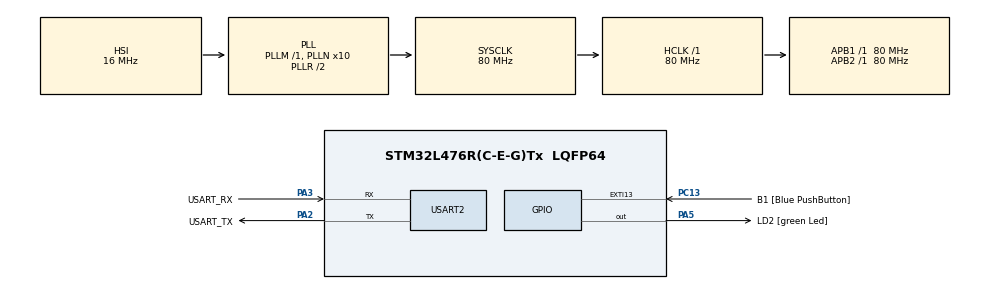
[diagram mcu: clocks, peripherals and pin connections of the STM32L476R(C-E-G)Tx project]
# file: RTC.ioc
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Mcu.Family=STM32L4
Mcu.Name=STM32L476R(C-E-G)Tx
Mcu.Package=LQFP64
NVIC.PriorityGroup=NVIC_PRIORITYGROUP_4
PA13\ (JTMS-SWDIO).GPIO_Label=TMS
PA13\ (JTMS-SWDIO).Mode=Serial_Wire
PA13\ (JTMS-SWDIO).Signal=SYS_JTMS-SWDIO
PA14\ (JTCK-SWCLK).GPIO_Label=TCK
PA14\ (JTCK-SWCLK).Mode=Serial_Wire
PA14\ (JTCK-SWCLK).Signal=SYS_JTCK-SWCLK
PA2.GPIO_Label=USART_TX
PA2.GPIO_Mode=GPIO_MODE_AF_PP
PA2.GPIO_PuPd=GPIO_NOPULL
PA2.GPIO_Speed=GPIO_SPEED_FREQ_VERY_HIGH
PA2.Mode=Asynchronous
PA2.Signal=USART2_TX
PA3.GPIO_Label=USART_RX
PA3.GPIO_Mode=GPIO_MODE_AF_PP
PA3.GPIO_PuPd=GPIO_NOPULL
PA3.GPIO_Speed=GPIO_SPEED_FREQ_VERY_HIGH
PA3.Mode=Asynchronous
PA3.Signal=USART2_RX
PA5.GPIO_Label=LD2 [green Led]
PA5.GPIO_ModeDefaultOutputPP=GPIO_MODE_OUTPUT_PP
PA5.GPIO_PuPd=GPIO_NOPULL
PA5.GPIO_Speed=GPIO_SPEED_FREQ_LOW
PA5.Signal=GPIO_Output
PB3\ (JTDO-TRACESWO).GPIO_Label=SWO
PB3\ (JTDO-TRACESWO).Signal=SYS_JTDO-SWO
PC13.GPIO_Label=B1 [Blue PushButton]
PC13.GPIO_ModeDefaultEXTI=GPIO_MODE_IT_FALLING
PC13.GPIO_PuPd=GPIO_NOPULL
PC13.Signal=GPXTI13
PC14-OSC32_IN\ (PC14).Mode=LSE-External-Oscillator
PC14-OSC32_IN\ (PC14).Signal=RCC_OSC32_IN
PC15-OSC32_OUT\ (PC15).Mode=LSE-External-Oscillator
PC15-OSC32_OUT\ (PC15).Signal=RCC_OSC32_OUT
PH0-OSC_IN\ (PH0).Mode=HSE-External-Oscillator
PH0-OSC_IN\ (PH0).Signal=RCC_OSC_IN
PH1-OSC_OUT\ (PH1).Mode=HSE-External-Oscillator
PH1-OSC_OUT\ (PH1).Signal=RCC_OSC_OUT
ProjectManager.HeapSize=0x200
ProjectManager.StackSize=0x400
ProjectManager.TargetToolchain=STM32CubeIDE
RCC.ADCFreq_Value=64000000
RCC.AHBFreq_Value=80000000
RCC.APB1Freq_Value=80000000
RCC.APB1TimFreq_Value=80000000
RCC.APB2Freq_Value=80000000
RCC.APB2TimFreq_Value=80000000
RCC.CortexFreq_Value=80000000
RCC.HCLKFreq_Value=80000000
RCC.HSE_VALUE=8000000
RCC.HSI_VALUE=16000000
RCC.MSI_VALUE=4000000
RCC.PLLN=10
RCC.PLLSourceVirtual=RCC_PLLSOURCE_HSI
RCC.PREFETCH_ENABLE=1
RCC.SYSCLKFreq_VALUE=80000000
RCC.SYSCLKSource=RCC_SYSCLKSOURCE_PLLCLK
RCC.USBFreq_Value=64000000
RCC.VCOOutputFreq_Value=160000000
RTC.HourFormat=RTC_HOURFORMAT_12
USART2.VirtualMode-Asynchronous=VM_ASYNC
VP_RTC_VS_RTC_Activate.Mode=RTC_Enabled
board=NUCLEO-L476RG

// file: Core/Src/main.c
/* USER CODE BEGIN Header */
/**
  ******************************************************************************
  * @file           : main.c
  * @brief          : Main program body
  ******************************************************************************
  * @attention
  *
  * Copyright (c) 2025 STMicroelectronics.
  * All rights reserved.
  *
  * This software is licensed under terms that can be found in the LICENSE file
  * in the root directory of this software component.
  * If no LICENSE file comes with this software, it is provided AS-IS.
  *
  ******************************************************************************
  */
/* USER CODE END Header */
#include "main.h"

RTC_HandleTypeDef hrtc;

UART_HandleTypeDef huart2;

void SystemClock_Config(void);
static void MX_GPIO_Init(void);
static void MX_USART2_UART_Init(void);
static void MX_RTC_Init(void);

/* USER CODE BEGIN 0 */
int __io_putchar(int ch)
{
  HAL_UART_Transmit(&huart2, (uint8_t*)&ch, 1, HAL_MAX_DELAY);
  return ch;
}
/* USER CODE END 0 */

int main(void)
{

  /* USER CODE BEGIN 1 */
 RTC_TimeTypeDef sTime = {0};
 RTC_DateTypeDef sDate = {0};
  /* USER CODE END 1 */

  /* MCU Configuration--------------------------------------------------------*/

  /* Reset of all peripherals, Initializes the Flash interface and the Systick. */
  HAL_Init();

  /* Configure the system clock */
  SystemClock_Config();

  /* Initialize all configured peripherals */
  MX_GPIO_Init();
  MX_USART2_UART_Init();
  MX_RTC_Init();
  /* USER CODE BEGIN 2 */
   if((RTC->ISR & RTC_ISR_INITS) == 0)
   {
	   sTime.Hours = 10;
	   sTime.Minutes = 30;
	   sTime.Seconds = 30;
	   sTime.DayLightSaving = RTC_DAYLIGHTSAVING_NONE;
	   sTime.StoreOperation = RTC_STOREOPERATION_RESET;
	   HAL_RTC_SetTime(&hrtc, &sTime, RTC_FORMAT_BIN);
	   sDate.WeekDay = RTC_WEEKDAY_TUESDAY;
	   sDate.Month   = RTC_MONTH_MAY;
	   sDate.Date    = 3;
	   sDate.Year    = 25;
	   HAL_RTC_SetDate(&hrtc, &sDate, RTC_FORMAT_BIN);

   }
  /* USER CODE END 2 */

  /* Infinite loop */
  /* USER CODE BEGIN WHILE */
  while (1)
  {
	 HAL_RTC_GetTime(&hrtc, &sTime, RTC_FORMAT_BIN);
	 HAL_RTC_GetDate(&hrtc, &sDate, RTC_FORMAT_BIN);
    /* USER CODE END WHILE */

    /* USER CODE BEGIN 3 */
	 printf("Time: \r\n");
	 printf("%02d:%02d:%02d\r\n",sTime.Hours, sTime.Minutes, sTime.Seconds);
	 printf("Date: \r\n");
	 printf("%02d:%02d:%02d\r\n",sDate.Date, sDate.Month, sDate.Year);
	 HAL_Delay(1000);

  }
  /* USER CODE END 3 */
}

void SystemClock_Config(void)
{
  RCC_OscInitTypeDef RCC_OscInitStruct = {0};
  RCC_ClkInitTypeDef RCC_ClkInitStruct = {0};

  /** Configure the main internal regulator output voltage
  */
  if (HAL_PWREx_ControlVoltageScaling(PWR_REGULATOR_VOLTAGE_SCALE1) != HAL_OK)
  {
    Error_Handler();
  }

  /** Initializes the RCC Oscillators according to the specified parameters
  * in the RCC_OscInitTypeDef structure.
  */
  RCC_OscInitStruct.OscillatorType = RCC_OSCILLATORTYPE_HSI|RCC_OSCILLATORTYPE_LSI;
  RCC_OscInitStruct.HSIState = RCC_HSI_ON;
  RCC_OscInitStruct.HSICalibrationValue = RCC_HSICALIBRATION_DEFAULT;
  RCC_OscInitStruct.LSIState = RCC_LSI_ON;
  RCC_OscInitStruct.PLL.PLLState = RCC_PLL_ON;
  RCC_OscInitStruct.PLL.PLLSource = RCC_PLLSOURCE_HSI;
  RCC_OscInitStruct.PLL.PLLM = 1;
  RCC_OscInitStruct.PLL.PLLN = 10;
  RCC_OscInitStruct.PLL.PLLP = RCC_PLLP_DIV7;
  RCC_OscInitStruct.PLL.PLLQ = RCC_PLLQ_DIV2;
  RCC_OscInitStruct.PLL.PLLR = RCC_PLLR_DIV2;
  if (HAL_RCC_OscConfig(&RCC_OscInitStruct) != HAL_OK)
  {
    Error_Handler();
  }

  /** Initializes the CPU, AHB and APB buses clocks
  */
  RCC_ClkInitStruct.ClockType = RCC_CLOCKTYPE_HCLK|RCC_CLOCKTYPE_SYSCLK
                              |RCC_CLOCKTYPE_PCLK1|RCC_CLOCKTYPE_PCLK2;
  RCC_ClkInitStruct.SYSCLKSource = RCC_SYSCLKSOURCE_PLLCLK;
  RCC_ClkInitStruct.AHBCLKDivider = RCC_SYSCLK_DIV1;
  RCC_ClkInitStruct.APB1CLKDivider = RCC_HCLK_DIV1;
  RCC_ClkInitStruct.APB2CLKDivider = RCC_HCLK_DIV1;

  if (HAL_RCC_ClockConfig(&RCC_ClkInitStruct, FLASH_LATENCY_4) != HAL_OK)
  {
    Error_Handler();
  }
}

static void MX_RTC_Init(void)
{

  /** Initialize RTC Only
  */
  hrtc.Instance = RTC;
  hrtc.Init.HourFormat = RTC_HOURFORMAT_12;
  hrtc.Init.AsynchPrediv = 127;
  hrtc.Init.SynchPrediv = 255;
  hrtc.Init.OutPut = RTC_OUTPUT_DISABLE;
  hrtc.Init.OutPutRemap = RTC_OUTPUT_REMAP_NONE;
  hrtc.Init.OutPutPolarity = RTC_OUTPUT_POLARITY_HIGH;
  hrtc.Init.OutPutType = RTC_OUTPUT_TYPE_OPENDRAIN;
  if (HAL_RTC_Init(&hrtc) != HAL_OK)
  {
    Error_Handler();
  }

}

static void MX_USART2_UART_Init(void)
{

  huart2.Instance = USART2;
  huart2.Init.BaudRate = 115200;
  huart2.Init.WordLength = UART_WORDLENGTH_8B;
  huart2.Init.StopBits = UART_STOPBITS_1;
  huart2.Init.Parity = UART_PARITY_NONE;
  huart2.Init.Mode = UART_MODE_TX_RX;
  huart2.Init.HwFlowCtl = UART_HWCONTROL_NONE;
  huart2.Init.OverSampling = UART_OVERSAMPLING_16;
  huart2.Init.OneBitSampling = UART_ONE_BIT_SAMPLE_DISABLE;
  huart2.AdvancedInit.AdvFeatureInit = UART_ADVFEATURE_NO_INIT;
  if (HAL_UART_Init(&huart2) != HAL_OK)
  {
    Error_Handler();
  }

}

static void MX_GPIO_Init(void)
{
  GPIO_InitTypeDef GPIO_InitStruct = {0};

  /* GPIO Ports Clock Enable */
  __HAL_RCC_GPIOC_CLK_ENABLE();
  __HAL_RCC_GPIOH_CLK_ENABLE();
  __HAL_RCC_GPIOA_CLK_ENABLE();
  __HAL_RCC_GPIOB_CLK_ENABLE();

  /*Configure GPIO pin Output Level */
  HAL_GPIO_WritePin(LD2_GPIO_Port, LD2_Pin, GPIO_PIN_RESET);

  /*Configure GPIO pin : B1_Pin */
  GPIO_InitStruct.Pin = B1_Pin;
  GPIO_InitStruct.Mode = GPIO_MODE_IT_FALLING;
  GPIO_InitStruct.Pull = GPIO_NOPULL;
  HAL_GPIO_Init(B1_GPIO_Port, &GPIO_InitStruct);

  /*Configure GPIO pin : LD2_Pin */
  GPIO_InitStruct.Pin = LD2_Pin;
  GPIO_InitStruct.Mode = GPIO_MODE_OUTPUT_PP;
  GPIO_InitStruct.Pull = GPIO_NOPULL;
  GPIO_InitStruct.Speed = GPIO_SPEED_FREQ_LOW;
  HAL_GPIO_Init(LD2_GPIO_Port, &GPIO_InitStruct);

}

void Error_Handler(void)
{
  __disable_irq();
  while (1)
  {
  }
}
